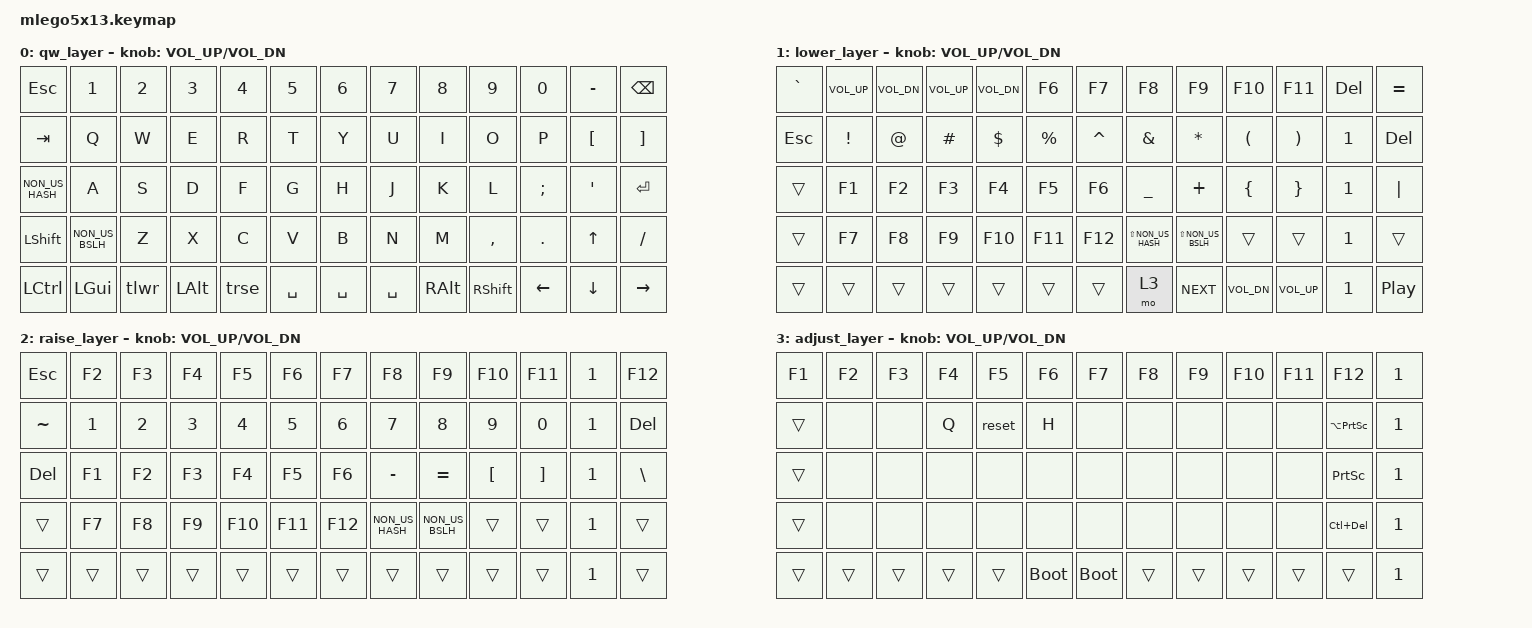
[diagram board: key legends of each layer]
/*
 * Copyright (c) 2022 The ZMK Contributors
 *
 * SPDX-License-Identifier: MIT
 */
 
#include <behaviors.dtsi>
#include <dt-bindings/zmk/keys.h>
#include <dt-bindings/zmk/outputs.h>

#define  QW 0
#define LWR 1
#define RSE 2
#define ADJ 3

/ {

    conditional_layers {
        compatible = "zmk,conditional-layers";
        tri_layer {
            if-layers = <LWR RSE>;
            then-layer = <ADJ>;
        };
    };

    behaviors {
        tlwr: tlwr {
            compatible = "zmk,behavior-tap-dance";
            label = "tlwr";
            #binding-cells = <0>;
            tapping-term-ms = <200>;
            bindings = <&mo LWR>, <&tog LWR>, <&trans>;
        };

        trse: trse {
            compatible = "zmk,behavior-tap-dance";
            label = "trse";
            #binding-cells = <0>;
            tapping-term-ms = <200>;
            bindings = <&mo RSE>, <&tog RSE>, <&trans>;
        };
    };

    keymap {
        compatible = "zmk,keymap";

        qw_layer {
            bindings = <
                &kp ESC          &kp N1          &kp N2      &kp N3   &kp N4     &kp N5      &kp N6      &kp N7       &kp N8      &kp N9      &kp N0     &kp MINUS &kp BSPC
                &kp TAB          &kp Q           &kp W       &kp E    &kp R      &kp T       &kp Y       &kp U        &kp I       &kp O       &kp P      &kp LBKT  &kp RBKT
                &kp NON_US_HASH  &kp A           &kp S       &kp D    &kp F      &kp G       &kp H       &kp J        &kp K       &kp L       &kp SEMI   &kp APOS  &kp RET
                &kp LSHFT        &kp NON_US_BSLH &kp Z       &kp X    &kp C      &kp V       &kp B       &kp N        &kp M       &kp COMMA   &kp DOT    &kp UP    &kp FSLH   
                &kp LCTRL        &kp LGUI        &tlwr     &kp LALT   &trse      &kp SPACE   &kp SPACE   &kp SPACE    &kp RALT    &kp RSHFT    &kp LEFT   &kp DOWN  &kp RIGHT 
            >;
			sensor-bindings = <&inc_dec_kp C_VOL_UP C_VOL_DN>;
        };

        lower_layer {
            bindings = <
                &kp GRAVE   &kp C_VOL_UP   &kp C_VOL_DN   &kp K_VOL_UP   &kp K_VOL_DN    &kp F6       &kp F7          &kp F8              &kp F9 &kp F10      &kp F11    &kp DEL        &kp EQUAL
                &kp ESC &kp EXCL &kp AT   &kp HASH &kp DLLR  &kp PRCNT    &kp CARET       &kp AMPS            &kp ASTRK           &kp LPAR     &kp RPAR    &kp N1      &kp DEL
                &trans    &kp F1   &kp F2   &kp F3   &kp F4    &kp F5       &kp F6          &kp UNDER           &kp PLUS            &kp LBRC     &kp RBRC     &kp N1     &kp PIPE
                &trans    &kp F7   &kp F8   &kp F9   &kp F10   &kp F11      &kp F12         &kp LS(NON_US_HASH) &kp LS(NON_US_BSLH) &trans       &trans       &kp N1     &trans
                &trans   &trans   &trans   &trans    &trans    &trans       &trans          &mo 3               &kp C_NEXT          &kp C_VOL_DN &kp C_VOL_UP    &kp N1  &kp C_PLAY_PAUSE 
            >;
			sensor-bindings = <&inc_dec_kp C_VOL_UP C_VOL_DN>;
        };

        raise_layer {
            bindings = <
                &kp ESC   &kp F2   &kp F3   &kp F4   &kp F5    &kp F6  &kp F7    &kp F8          &kp F9          &kp F10      &kp F11     &kp N1    &kp F12
                &kp TILDE &kp N1   &kp N2   &kp N3   &kp N4    &kp N5  &kp N6    &kp N7          &kp N8          &kp N9       &kp N0      &kp N1     &kp DEL
                &kp DEL   &kp F1   &kp F2   &kp F3   &kp F4    &kp F5  &kp F6    &kp MINUS       &kp EQUAL       &kp LBKT     &kp RBKT    &kp N1     &kp BSLH
                &trans    &kp F7   &kp F8   &kp F9   &kp F10   &kp F11 &kp F12   &kp NON_US_HASH &kp NON_US_BSLH &trans       &trans      &kp N1      &trans
                &trans   &trans   &trans   &trans    &trans    &trans &trans     &trans          &trans          &trans       &trans      &kp N1     &trans
            >;
			sensor-bindings = <&inc_dec_kp C_VOL_UP C_VOL_DN>;
        };

        adjust_layer {
            bindings = <
                &kp  F1 &kp F2 &kp F3 &kp F4 &kp F5 &kp F6 &kp F7 &kp F8 &kp F9 &kp F10 &kp F11 &kp F12  &kp N1 
                &trans &none  &none  &kp Q  &reset  &kp H  &none  &none  &none  &none   &none   &kp LA(PSCRN)  &kp N1 
                &trans &none  &none  &none  &none  &none  &none  &none  &none  &none   &none   &kp PSCRN  &kp N1 
                &trans &none  &none  &none  &none  &none  &none  &none  &none  &none   &none   &kp LC(DEL)  &kp N1 
                &trans &trans &trans &trans &trans &bootloader   &bootloader &trans &trans &trans &trans  &trans  &kp N1
            >;
			sensor-bindings = <&inc_dec_kp C_VOL_UP C_VOL_DN>;
        };

    };
};
